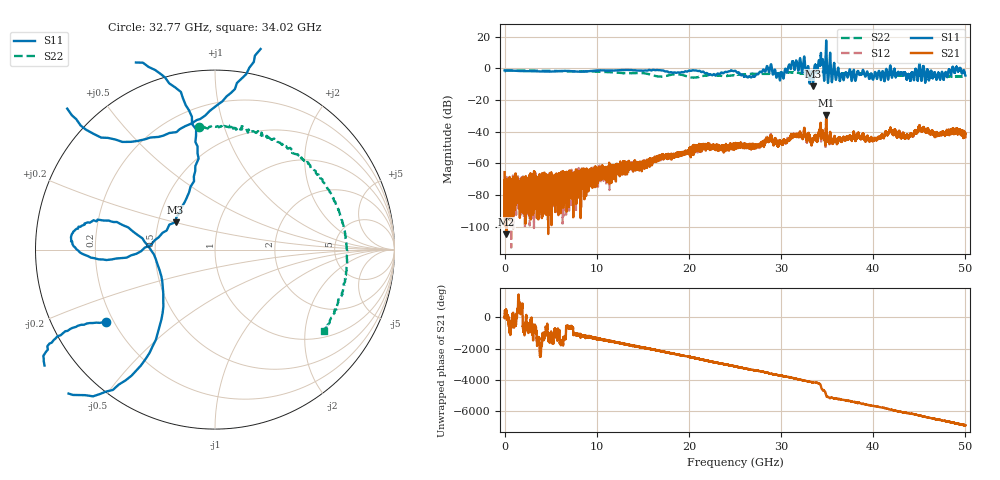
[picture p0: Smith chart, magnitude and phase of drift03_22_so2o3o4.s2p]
!Created with skrf (http://scikit-rf.org).
# Hz S RI R 50.0
!freq ReS11 ImS11 ReS21 ImS21 ReS12 ImS12 ReS22 ImS22
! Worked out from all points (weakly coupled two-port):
!   10001 points, 300 kHz to 50 GHz, reference 50 ohm
!   highest |S21| = -29.72 dB at 34.9 GHz (marker M1); lowest = -104.9 dB at 185.3 MHz (marker M2)
!   lowest |S11| = -11.4 dB at 33.47 GHz (marker M3), VSWR 1.73, Z = 30.7 + j10.1 ohm
!   |S11| at or under -10 dB: 33.44678 GHz to 33.48629 GHz (39.51 MHz wide, 0.118 % of centre)
!   |S22| runs from -5.9 to -1.3 dB; largest |S21 - S12| = 0.0071
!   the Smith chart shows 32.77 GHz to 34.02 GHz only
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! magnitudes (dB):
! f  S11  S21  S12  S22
! 300 kHz  -1.3  -65.6  -75.3  -2.1
! 185.3 MHz  -1.3  -104.9  -75.6  -1.4
! 3.48 GHz  -1.9  -69.6  -76.1  -1.5
! 8.335 GHz  -2.2  -66.3  -68.8  -1.9
! 16.67 GHz  -1.1  -56.8  -57.0  -5.2
! 25 GHz  -1.5  -47.9  -49.0  -4.3
! 26.92 GHz  -4.9  -49.8  -49.2  -3.6
! 28.73 GHz  -2.2  -45.5  -45.3  -3.5
! 30.06 GHz  -2.5  -47.3  -47.3  -2.9
! 31.87 GHz  -1.5  -42.9  -42.4  -2.9
! 33.34 GHz  -2.2  -47.7  -47.6  -2.9
! 33.47 GHz  -11.4  -45.2  -45.3  -2.8
! 34.3 GHz  7.5  -34.5  -35.3  -2.3
! 34.9 GHz  17.6  -29.7  -31.0  -2.4
! 36.58 GHz  -3.4  -45.6  -46.0  -3.6
! 40.18 GHz  -2.5  -44.5  -43.9  -3.7
! 41.67 GHz  -5.6  -40.4  -40.9  -3.7
! 43.67 GHz  -7.0  -42.0  -42.0  -4.0
! 45.22 GHz  -7.7  -38.9  -39.5  -4.5
! 47.07 GHz  -3.0  -41.2  -41.2  -5.1
! 49.21 GHz  -1.8  -39.7  -40.5  -5.2
! 50 GHz  -4.6  -43.5  -42.9  -5.0
